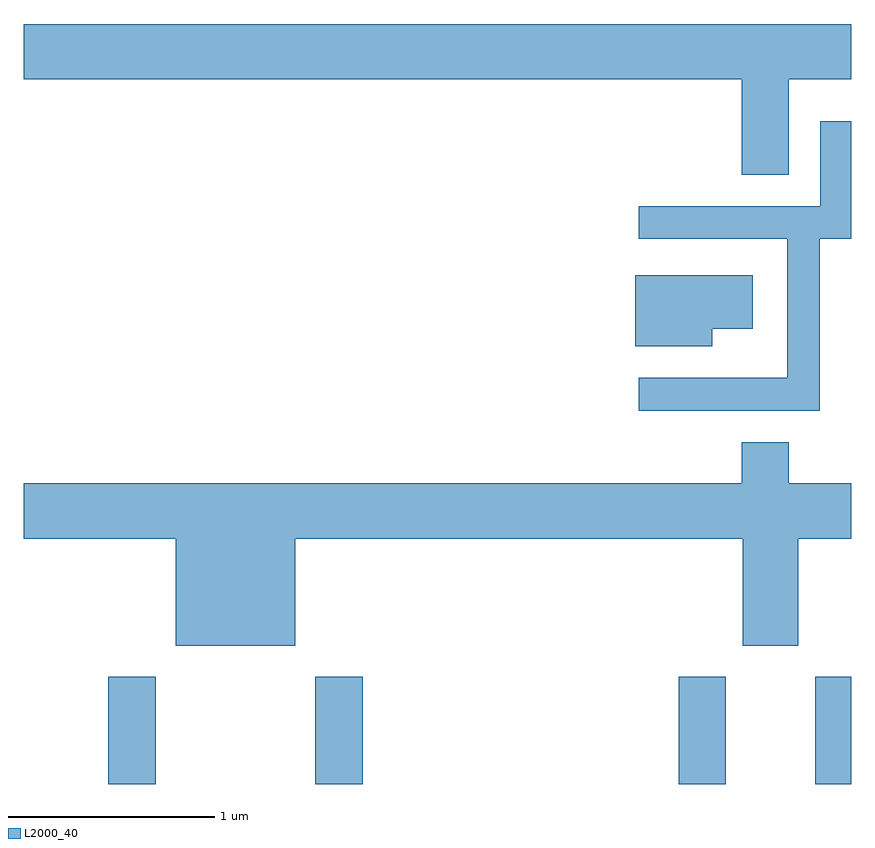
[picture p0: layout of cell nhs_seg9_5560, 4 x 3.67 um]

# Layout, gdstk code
import gdstk
lib = gdstk.Library(unit=1e-6, precision=1e-09)
def R(c, l, rs):  # rectangles x0, y0, x1, y1
    for r in rs: c.add(gdstk.rectangle(r[:2], r[2:], *l))
def P(c, l, *ps):  # polygons
    for p in ps: c.add(gdstk.Polygon(p, *l))
L2000_40 = (2000, 40)

nhs_seg9_5560 = lib.new_cell('nhs_seg9_5560')
R(nhs_seg9_5560, L2000_40, [(350.021,1968.432,350.249,1968.949), (351.021,1968.432,351.249,1968.949), (352.776,1968.432,353.004,1968.949), (353.436,1968.432,353.611,1968.949)])
P(nhs_seg9_5560, L2000_40, [(353.309,1971.836),(353.611,1971.836),(353.611,1972.104),(349.611,1972.104),(349.611,1971.836),(353.081,1971.836),(353.081,1971.376),(353.309,1971.376)],
  [(353.459,1971.066),(353.611,1971.066),(353.611,1971.634),(353.461,1971.634),(353.461,1971.224),(352.583,1971.224),(352.583,1971.066),(353.301,1971.066),(353.301,1970.394),(352.583,1970.394),(352.583,1970.236),(353.459,1970.236)],
  [(352.939,1970.631),(353.134,1970.631),(353.134,1970.889),(352.566,1970.889),(352.566,1970.546),(352.939,1970.546)],
  [(350.924,1969.616),(353.086,1969.616),(353.086,1969.101),(353.354,1969.101),(353.354,1969.616),(353.611,1969.616),(353.611,1969.884),(353.309,1969.884),(353.309,1970.084),(353.081,1970.084),(353.081,1969.884),(349.611,1969.884),(349.611,1969.616),(350.346,1969.616),(350.346,1969.101),(350.924,1969.101)])

lib.write_gds('nhs_seg9_5560.gds')
